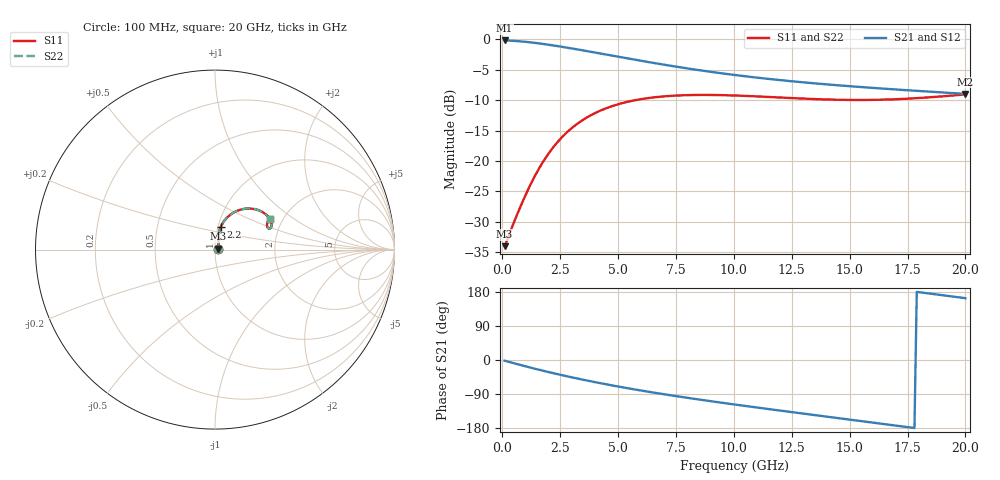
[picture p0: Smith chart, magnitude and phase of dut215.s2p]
! Touchstone file exported from HFSS 2024.1.0
!  File:  C:/UserFiles/LocalFiles/RDL_TSV_Batchsim/temp_RDL_TSV_215_1779447384.aedt
!  Generated:  07:13:54 PM May 22, 2026
!  Design:  RDL_TSV
!  Project:  temp_RDL_TSV_215_1779447384
!  Setup:  Setup1
!  Solution:  Sweep
! Variables:
!  dtsv = 8.89um
!  hbump = 3um
!  htsv = 53.17um
!  ldown = 366.72um
!  lrdl = 481.34um
!  p = 40
!  p1 = 56.9um
!  rhole = 10um
!  subl = 3025.52um
!  t = 450um
!  tdown = 4.37um
!  trdl = 2.21um
!  viad = 10um
!  wdown = 27.48um
!  wrdl = 20.17um
!  xbump = 18um
# GHz S MA R 50.000000
! Terminal data exported
! Port[1] = TM1_1_T1
! Port[2] = TM1_4_T1
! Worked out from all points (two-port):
!   200 points, 100 MHz to 20 GHz, reference 50 ohm
!   highest |S21| = -0.17 dB at 100 MHz (marker M1); lowest = -9.0 dB at 20 GHz (marker M2)
!   |S21| within 3 dB of the highest: start of sweep to 5.483 GHz
!   lowest |S11| = -34.0 dB at 100 MHz (marker M3), VSWR 1.04, Z = 52 + j0.538 ohm
!   |S11| at or under -10 dB: start of sweep to 5.742 GHz
!   |S22| runs from -34.0 to -9.0 dB; largest |S21 - S12| = 1.5e-14
!   S11 on the Smith chart (normalised r, x): 100 MHz: 1.04, +0.01; 2.2 GHz: 1.03, +0.26; 20 GHz: 1.72, +0.68
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0.1  0.0199 15.1  0.9805 -1.7  0.9805 -1.7  0.0199 15.1
! Gamma 0 0 0 0
! Port Impedance 50 0 50 0
0.6  0.03474 54.8  0.9701 -10.2  0.9701 -10.2  0.03474 54.8
0.9  0.0473 66.1  0.9597 -15.1  0.9597 -15.1  0.04731 66.2
1.2  0.06289 72.8  0.9468 -19.8  0.9468 -19.8  0.0629 72.8
1.7  0.0943 76.8  0.9212 -27.5  0.9212 -27.5  0.09436 76.9
2.2  0.1296 75.9  0.8923 -34.8  0.8923 -34.8  0.1297 75.9
2.8  0.1726 71.7  0.8554 -43.1  0.8554 -43.1  0.1728 71.7
3.5  0.2187 65.2  0.8115 -52.2  0.8115 -52.2  0.219 65.3
4.2  0.2578 58.6  0.7683 -60.8  0.7683 -60.8  0.2581 58.6
5  0.2927 51.4  0.7211 -70.0  0.7211 -70.0  0.293 51.4
5.9  0.3203 44.2  0.672 -79.6  0.672 -79.6  0.3207 44.3
6.8  0.3375 38.2  0.6279 -88.6  0.6279 -88.6  0.338 38.2
7.6  0.3458 33.6  0.593 -96.2  0.593 -96.2  0.3464 33.7
8.4  0.3492 29.9  0.562 -103.4  0.562 -103.4  0.3497 29.9
9.2  0.3488 26.8  0.5347 -110.4  0.5347 -110.4  0.3494 26.9
10.1  0.3453 24.2  0.5079 -118.0  0.5079 -118.0  0.3459 24.2
11.7  0.3348 21.6  0.4688 -131.1  0.4688 -131.1  0.3354 21.6
13.4  0.3235 21.2  0.4365 -144.7  0.4365 -144.7  0.3241 21.2
15  0.3177 22.7  0.4122 -157.3  0.4122 -157.3  0.3182 22.7
16.7  0.3205 25.4  0.3907 -170.7  0.3907 -170.7  0.3209 25.3
18.3  0.3324 27.8  0.3732 176.6  0.3732 176.6  0.3327 27.8
20  0.3527 29.4  0.3565 163.1  0.3565 163.1  0.353 29.4
